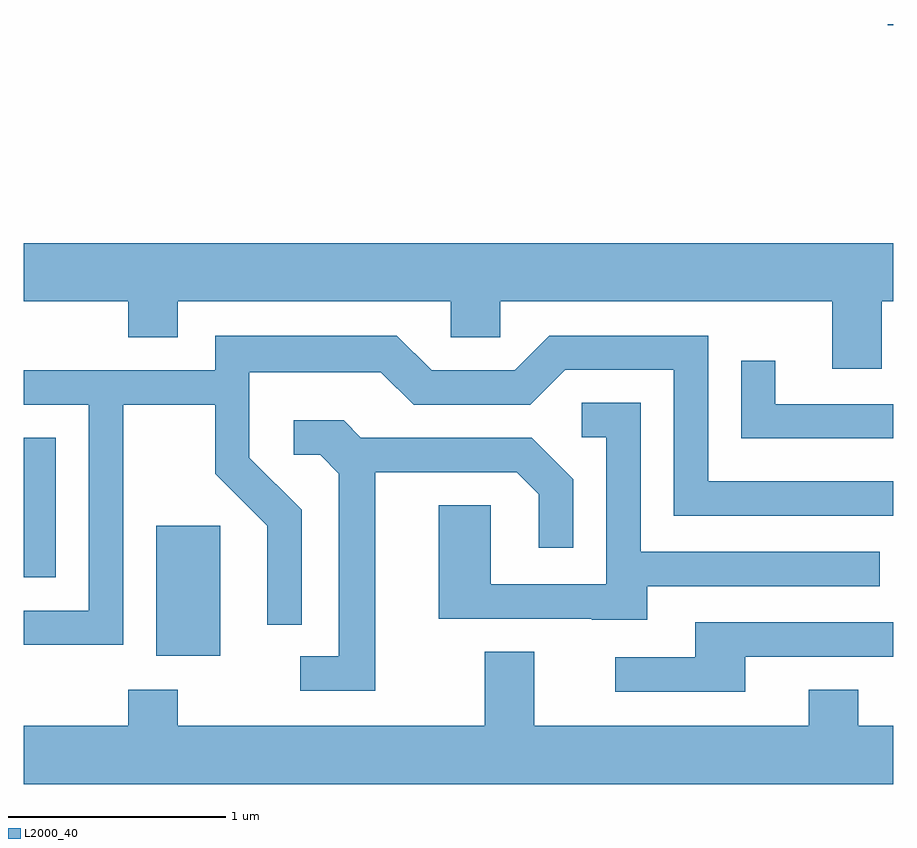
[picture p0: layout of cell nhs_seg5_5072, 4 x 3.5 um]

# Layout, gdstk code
import gdstk
lib = gdstk.Library(unit=1e-6, precision=1e-09)
def R(c, l, rs):  # rectangles x0, y0, x1, y1
    for r in rs: c.add(gdstk.rectangle(r[:2], r[2:], *l))
def P(c, l, *ps):  # polygons
    for p in ps: c.add(gdstk.Polygon(p, *l))
L2000_40 = (2000, 40)

nhs_seg5_5072 = lib.new_cell('nhs_seg5_5072')
R(nhs_seg5_5072, L2000_40, [(336.221,1455.166,336.514,1455.764), (335.611,1455.526,335.759,1456.169), (339.586,1458.066,339.611,1458.072)])
P(nhs_seg5_5072, L2000_40, [(339.559,1456.796),(339.611,1456.796),(339.611,1457.064),(335.611,1457.064),(335.611,1456.796),(336.091,1456.796),(336.091,1456.631),(336.319,1456.631),(336.319,1456.796),(337.576,1456.796),(337.576,1456.631),(337.804,1456.631),(337.804,1456.796),(339.331,1456.796),(339.331,1456.486),(339.559,1456.486)],
  [(336.069,1456.321),(336.491,1456.321),(336.491,1456.004),(336.731,1455.764),(336.731,1455.308),(336.889,1455.308),(336.889,1455.837),(336.649,1456.077),(336.649,1456.471),(337.254,1456.471),(337.404,1456.321),(337.942,1456.321),(338.102,1456.481),(338.601,1456.481),(338.601,1455.811),(339.611,1455.811),(339.611,1455.969),(338.759,1455.969),(338.759,1456.639),(338.029,1456.639),(337.869,1456.479),(337.487,1456.479),(337.327,1456.639),(336.491,1456.639),(336.491,1456.479),(335.611,1456.479),(335.611,1456.321),(335.911,1456.321),(335.911,1455.374),(335.611,1455.374),(335.611,1455.216),(336.069,1455.216)],
  [(339.611,1456.324),(339.069,1456.324),(339.069,1456.523),(338.911,1456.523),(338.911,1456.166),(339.611,1456.166)],
  [(338.479,1455.486),(339.548,1455.486),(339.548,1455.644),(338.449,1455.644),(338.449,1456.329),(338.178,1456.329),(338.178,1456.171),(338.291,1456.171),(338.291,1455.494),(337.759,1455.494),(337.759,1455.859),(337.521,1455.859),(337.521,1455.336),(338.225,1455.336),(338.225,1455.331),(338.479,1455.331)],
  [(337.229,1456.011),(337.879,1456.011),(337.981,1455.909),(337.981,1455.663),(338.139,1455.663),(338.139,1455.977),(337.947,1456.169),(337.162,1456.169),(337.082,1456.249),(336.853,1456.249),(336.853,1456.091),(336.974,1456.091),(337.061,1456.004),(337.061,1455.164),(336.883,1455.164),(336.883,1455.006),(337.229,1455.006)],
  [(338.929,1455.161),(339.611,1455.161),(339.611,1455.319),(338.701,1455.319),(338.701,1455.159),(338.333,1455.159),(338.333,1455.001),(338.929,1455.001)],
  [(339.611,1454.844),(339.449,1454.844),(339.449,1455.009),(339.221,1455.009),(339.221,1454.844),(337.959,1454.844),(337.959,1455.184),(337.731,1455.184),(337.731,1454.844),(336.319,1454.844),(336.319,1455.009),(336.091,1455.009),(336.091,1454.844),(335.611,1454.844),(335.611,1454.576),(339.611,1454.576)])

lib.write_gds('nhs_seg5_5072.gds')
